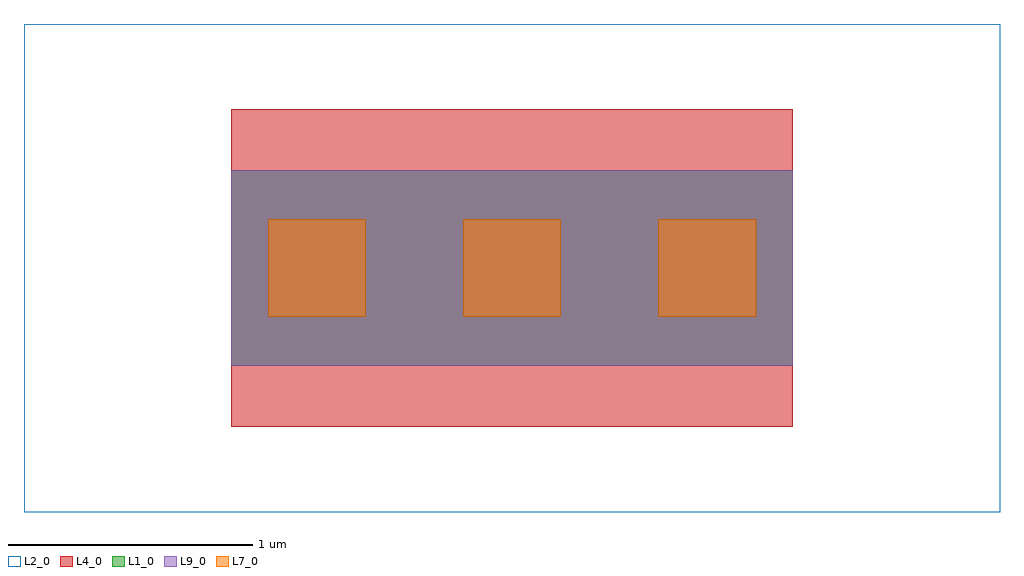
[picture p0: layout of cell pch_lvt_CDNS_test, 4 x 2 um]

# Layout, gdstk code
import gdstk
lib = gdstk.Library(unit=1e-6, precision=1e-09)
def R(c, l, rs):  # rectangles x0, y0, x1, y1
    for r in rs: c.add(gdstk.rectangle(r[:2], r[2:], *l))
def A(c, l, x, y, w, h, nx, ny, dx, dy):  # array of equal rectangles
    R(c, l, [(x+i*dx, y+j*dy, x+i*dx+w, y+j*dy+h) for i in range(nx) for j in range(ny)])
L1_0 = (1, 0)
L2_0 = (2, 0)
L4_0 = (4, 0)
L7_0 = (7, 0)
L9_0 = (9, 0)

pch_lvt_cdns_test = lib.new_cell('pch_lvt_CDNS_test')
R(pch_lvt_cdns_test, L1_0, [(-1.15,-0.4,1.15,0.4)])
R(pch_lvt_cdns_test, L2_0, [(-2,-1,2,1)])
R(pch_lvt_cdns_test, L4_0, [(-1.15,-0.65,1.15,0.65)])
A(pch_lvt_cdns_test, L7_0, -1, -0.2, 0.4, 0.4, 3, 1, 0.8, 0)
R(pch_lvt_cdns_test, L9_0, [(-1.15,-0.4,1.15,0.4)])

lib.write_gds('pch_lvt_CDNS_test.gds')
